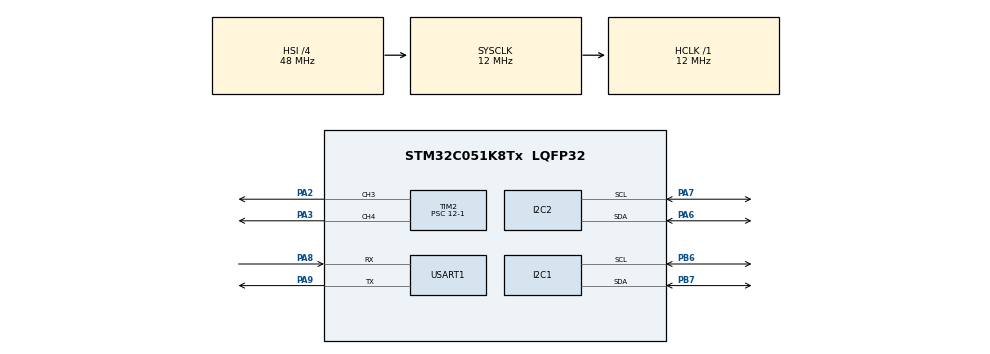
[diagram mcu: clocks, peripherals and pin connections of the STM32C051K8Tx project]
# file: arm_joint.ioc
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Dma.Request0=USART1_TX
Dma.USART1_TX.0.Direction=DMA_MEMORY_TO_PERIPH
Dma.USART1_TX.0.EventEnable=DISABLE
Dma.USART1_TX.0.Instance=DMA1_Channel1
Dma.USART1_TX.0.MemDataAlignment=DMA_MDATAALIGN_BYTE
Dma.USART1_TX.0.MemInc=DMA_MINC_ENABLE
Dma.USART1_TX.0.Mode=DMA_NORMAL
Dma.USART1_TX.0.PeriphDataAlignment=DMA_PDATAALIGN_BYTE
Dma.USART1_TX.0.PeriphInc=DMA_PINC_DISABLE
Dma.USART1_TX.0.Polarity=HAL_DMAMUX_REQ_GEN_RISING
Dma.USART1_TX.0.Priority=DMA_PRIORITY_LOW
Dma.USART1_TX.0.RequestNumber=1
Dma.USART1_TX.0.SignalID=NONE
Dma.USART1_TX.0.SyncEnable=DISABLE
Dma.USART1_TX.0.SyncPolarity=HAL_DMAMUX_SYNC_NO_EVENT
Dma.USART1_TX.0.SyncRequestNumber=1
Dma.USART1_TX.0.SyncSignalID=NONE
I2C1.OwnAddress=0x12
I2C1.Timing=0x00402D41
I2C2.Timing=0x00402D41
Mcu.Family=STM32C0
Mcu.Name=STM32C051K8Tx
Mcu.Package=LQFP32
NVIC.DMA1_Channel1_IRQn=true\:0\:0\:false\:false\:true\:false\:true\:true
NVIC.I2C1_IRQn=true\:0\:0\:false\:false\:true\:true\:true\:true
NVIC.I2C2_IRQn=true\:0\:0\:false\:false\:true\:true\:true\:true
NVIC.TIM3_IRQn=true\:0\:0\:false\:false\:true\:true\:true\:true
NVIC.USART1_IRQn=true\:0\:0\:false\:false\:true\:true\:true\:true
PA13.Mode=Serial_Wire
PA13.Signal=DEBUG_SWDIO
PA14-BOOT0.Mode=Serial_Wire
PA14-BOOT0.Signal=DEBUG_SWCLK
PA2.Signal=S_TIM2_CH3
PA3.Signal=S_TIM2_CH4
PA6.Mode=I2C
PA6.Signal=I2C2_SDA
PA7.Mode=I2C
PA7.Signal=I2C2_SCL
PA8.Mode=Asynchronous
PA8.Signal=USART1_RX
PA9.Mode=Asynchronous
PA9.Signal=USART1_TX
PB6.Mode=I2C
PB6.Signal=I2C1_SCL
PB7.Mode=I2C
PB7.Signal=I2C1_SDA
ProjectManager.HeapSize=0x200
ProjectManager.StackSize=0x400
ProjectManager.TargetToolchain=STM32CubeIDE
RCC.ADCFreq_Value=12000000
RCC.AHBFreq_Value=12000000
RCC.CortexFreq_Value=12000000
RCC.EXTERNAL_CLOCK_VALUE=12288000
RCC.HCLKFreq_Value=12000000
RCC.HSE_VALUE=8000000
RCC.HSI_VALUE=48000000
RCC.LSE_VALUE=32768
RCC.SYSCLKFreq_VALUE=12000000
SH.S_TIM2_CH3.0=TIM2_CH3,PWM Generation3 CH3
SH.S_TIM2_CH4.0=TIM2_CH4,PWM Generation4 CH4
TIM2.Channel-PWM\ Generation3\ CH3=TIM_CHANNEL_3
TIM2.Channel-PWM\ Generation4\ CH4=TIM_CHANNEL_4
TIM2.Period=1000-1
TIM2.Prescaler=12-1
TIM3.Period=1000-1
TIM3.Prescaler=120-1
USART1.VirtualMode-Asynchronous=VM_ASYNC
VP_TIM2_VS_ClockSourceINT.Mode=Internal
VP_TIM3_VS_ClockSourceINT.Mode=Internal
board=custom

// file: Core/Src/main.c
/* USER CODE BEGIN Header */
/**
  ******************************************************************************
  * @file           : main.c
  * @brief          : Main program body
  ******************************************************************************
  * @attention
  *
  * Copyright (c) 2025 STMicroelectronics.
  * All rights reserved.
  *
  * This software is licensed under terms that can be found in the LICENSE file
  * in the root directory of this software component.
  * If no LICENSE file comes with this software, it is provided AS-IS.
  *
  ******************************************************************************
  */
/* USER CODE END Header */
#include "main.h"
#include "dma.h"
#include "i2c.h"
#include "tim.h"
#include "usart.h"
#include "gpio.h"

/* USER CODE BEGIN Includes */
#include <string.h>
#include <stdio.h>
#include "uart_comms.h"
#include "i2c_slave.h"
#include "as5600.h"
#include "motor_driver.h"
#include "data_transfer.h"
/* USER CODE END Includes */

void SystemClock_Config(void);

int main(void)
{

  /* MCU Configuration--------------------------------------------------------*/

  /* Reset of all peripherals, Initializes the Flash interface and the Systick. */
  HAL_Init();

  /* Configure the system clock */
  SystemClock_Config();

  /* Initialize all configured peripherals */
  MX_GPIO_Init();
  MX_DMA_Init();
  MX_I2C1_Init();
  MX_I2C2_Init();
  MX_TIM2_Init();
  MX_USART1_UART_Init();
  MX_TIM3_Init();
  /* USER CODE BEGIN 2 */
  I2C_Slave_Init(&hi2c1);
  // Start timer interrupt for sensor reading (100Hz - every 10ms)
  HAL_TIM_Base_Start_IT(&htim3);

  log_info("Welcome to Debug mode\n\r");
  /* USER CODE END 2 */

  /* Infinite loop */
  while (1)
  {

  }
}

void SystemClock_Config(void)
{
  RCC_OscInitTypeDef RCC_OscInitStruct = {0};
  RCC_ClkInitTypeDef RCC_ClkInitStruct = {0};

  __HAL_FLASH_SET_LATENCY(FLASH_LATENCY_0);

  /** Initializes the RCC Oscillators according to the specified parameters
  * in the RCC_OscInitTypeDef structure.
  */
  RCC_OscInitStruct.OscillatorType = RCC_OSCILLATORTYPE_HSI;
  RCC_OscInitStruct.HSIState = RCC_HSI_ON;
  RCC_OscInitStruct.HSIDiv = RCC_HSI_DIV4;
  RCC_OscInitStruct.HSICalibrationValue = RCC_HSICALIBRATION_DEFAULT;
  if (HAL_RCC_OscConfig(&RCC_OscInitStruct) != HAL_OK)
  {
    Error_Handler();
  }

  /** Initializes the CPU, AHB and APB buses clocks
  */
  RCC_ClkInitStruct.ClockType = RCC_CLOCKTYPE_HCLK|RCC_CLOCKTYPE_SYSCLK
                              |RCC_CLOCKTYPE_PCLK1;
  RCC_ClkInitStruct.SYSCLKSource = RCC_SYSCLKSOURCE_HSI;
  RCC_ClkInitStruct.SYSCLKDivider = RCC_SYSCLK_DIV1;
  RCC_ClkInitStruct.AHBCLKDivider = RCC_HCLK_DIV1;
  RCC_ClkInitStruct.APB1CLKDivider = RCC_APB1_DIV1;

  if (HAL_RCC_ClockConfig(&RCC_ClkInitStruct, FLASH_LATENCY_0) != HAL_OK)
  {
    Error_Handler();
  }
}

/* USER CODE BEGIN 4 */
// Timer interrupt callback - called every 10ms (100Hz)
void HAL_TIM_PeriodElapsedCallback(TIM_HandleTypeDef *htim)
{
    if (htim->Instance == TIM3)
    {
        // Read sensor data in interrupt
        as5600_retrieve_angle();
        as5600_retrieve_status();
        set_motor_values();
    }
}
/* USER CODE END 4 */

void Error_Handler(void)
{
  __disable_irq();
  while (1)
  {
  }
}
